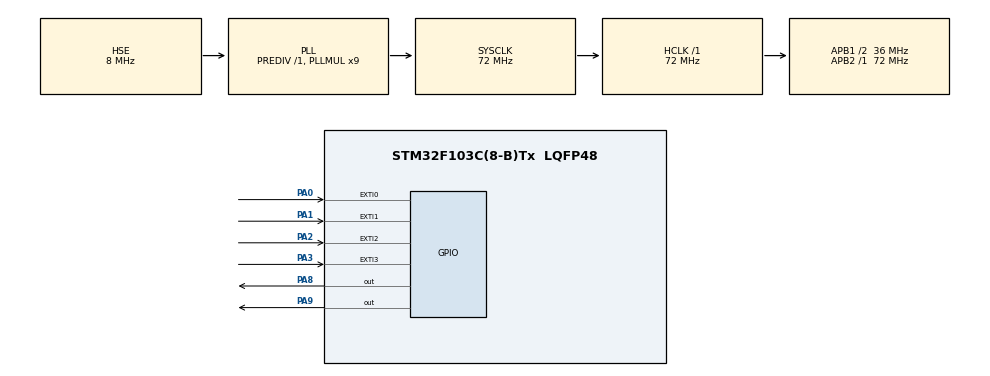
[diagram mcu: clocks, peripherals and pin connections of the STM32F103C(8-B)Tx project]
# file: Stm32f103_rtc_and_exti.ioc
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Mcu.Family=STM32F1
Mcu.Name=STM32F103C(8-B)Tx
Mcu.Package=LQFP48
NVIC.EXTI0_IRQn=true\:0\:0\:false\:false\:true\:true\:true\:true
NVIC.EXTI1_IRQn=true\:0\:0\:false\:false\:true\:true\:true\:true
NVIC.EXTI2_IRQn=true\:0\:0\:false\:false\:true\:true\:true\:true
NVIC.EXTI3_IRQn=true\:0\:0\:false\:false\:true\:true\:true\:true
NVIC.PriorityGroup=NVIC_PRIORITYGROUP_4
PA0-WKUP.GPIO_PuPd=GPIO_PULLDOWN
PA0-WKUP.Signal=GPXTI0
PA1.GPIO_PuPd=GPIO_PULLDOWN
PA1.Signal=GPXTI1
PA13.Mode=Serial_Wire
PA13.Signal=SYS_JTMS-SWDIO
PA14.Mode=Serial_Wire
PA14.Signal=SYS_JTCK-SWCLK
PA2.GPIO_PuPd=GPIO_PULLDOWN
PA2.Signal=GPXTI2
PA3.GPIO_PuPd=GPIO_PULLDOWN
PA3.Signal=GPXTI3
PA8.Signal=GPIO_Output
PA9.Signal=GPIO_Output
PC14-OSC32_IN.Mode=LSE-External-Oscillator
PC14-OSC32_IN.Signal=RCC_OSC32_IN
PC15-OSC32_OUT.Mode=LSE-External-Oscillator
PC15-OSC32_OUT.Signal=RCC_OSC32_OUT
PD0-OSC_IN.Mode=HSE-External-Oscillator
PD0-OSC_IN.Signal=RCC_OSC_IN
PD1-OSC_OUT.Mode=HSE-External-Oscillator
PD1-OSC_OUT.Signal=RCC_OSC_OUT
ProjectManager.HeapSize=0x200
ProjectManager.StackSize=0x400
ProjectManager.TargetToolchain=STM32CubeIDE
RCC.AHBFreq_Value=72000000
RCC.APB1CLKDivider=RCC_HCLK_DIV2
RCC.APB1Freq_Value=36000000
RCC.APB1TimFreq_Value=72000000
RCC.APB2Freq_Value=72000000
RCC.APB2TimFreq_Value=72000000
RCC.HCLKFreq_Value=72000000
RCC.PLLMUL=RCC_PLL_MUL9
RCC.PLLSourceVirtual=RCC_PLLSOURCE_HSE
RCC.SYSCLKFreq_VALUE=72000000
RCC.SYSCLKSource=RCC_SYSCLKSOURCE_PLLCLK
RCC.USBFreq_Value=72000000
RTC.Date=14
RTC.Format=RTC_FORMAT_BIN
RTC.Hours=13
RTC.Minutes=50
RTC.Month=RTC_MONTH_FEBRUARY
RTC.WeekDay=RTC_WEEKDAY_TUESDAY
RTC.Year=23
VP_RTC_VS_RTC_Activate.Mode=RTC_Enabled
VP_RTC_VS_RTC_Calendar.Mode=RTC_Calendar
board=custom

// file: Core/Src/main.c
/* USER CODE BEGIN Header */
/**
 ******************************************************************************
 * @file           : main.c
 * @brief          : Main program body
 ******************************************************************************
 * @attention
 *
 * Copyright (c) 2023 STMicroelectronics.
 * All rights reserved.
 *
 * This software is licensed under terms that can be found in the LICENSE file
 * in the root directory of this software component.
 * If no LICENSE file comes with this software, it is provided AS-IS.
 *
 ******************************************************************************
 */
/* USER CODE END Header */
#include "main.h"

/* USER CODE BEGIN Includes */
#include <stdio.h>
#include <stdbool.h>
#include <string.h>
#include <stdlib.h>
/* USER CODE END Includes */

/* USER CODE BEGIN PTD */
char time[9];
char firstTime[9];
char date[9];

bool button0=0;
bool button1=0;
bool button2=0;
bool button3=0;
bool timeOK=0;

uint32_t firstTimeInSeconds;
uint32_t currentTimeInSeconds;

/* USER CODE END PTD */

RTC_HandleTypeDef hrtc;

void SystemClock_Config(void);
static void MX_GPIO_Init(void);
static void MX_RTC_Init(void);
/* USER CODE BEGIN PFP */
RTC_TimeTypeDef sTime;
RTC_DateTypeDef DateToUpdate;
/* USER CODE END PFP */

/* USER CODE BEGIN 0 */
void HAL_GPIO_EXTI_Callback(uint16_t GPIO_Pin)
{
	switch(GPIO_Pin){
	case GPIO_PIN_0:
		button0=1;
		button1=0;
		button2=0;
		break;
	case  GPIO_PIN_1:
		button0=0;
		button1=1;
		button2=0;
		break;
	case GPIO_PIN_2:
		HAL_RTC_GetTime(&hrtc, &sTime, RTC_FORMAT_BIN);
		sprintf(firstTime,"%02d.%02d.%02d",sTime.Hours,sTime.Minutes,sTime.Seconds);
		firstTimeInSeconds = sTime.Seconds + sTime.Minutes * 60 + sTime.Hours * 60 * 60;
		button0=0;
		button1=0;
		button2=1;
		break;
	}

}
/* USER CODE END 0 */

int main(void)
{

	/* MCU Configuration--------------------------------------------------------*/

	/* Reset of all peripherals, Initializes the Flash interface and the Systick. */
	HAL_Init();

	/* Configure the system clock */
	SystemClock_Config();

	/* Initialize all configured peripherals */
	MX_GPIO_Init();
	MX_RTC_Init();

	/* Infinite loop */
	while (1)
	{

		/* USER CODE BEGIN 3 */
		HAL_RTC_GetTime(&hrtc, &sTime, RTC_FORMAT_BIN);
		HAL_RTC_GetDate(&hrtc, &DateToUpdate, RTC_FORMAT_BIN);
		sprintf(date,"%02d.%02d.%02d",DateToUpdate.Date,DateToUpdate.Month,DateToUpdate.Year);
		sprintf(time,"%02d.%02d.%02d",sTime.Hours,sTime.Minutes,sTime.Seconds);

		currentTimeInSeconds = sTime.Seconds + sTime.Minutes * 60 + sTime.Hours * 60 * 60;
		HAL_GPIO_WritePin(GPIOA, GPIO_PIN_8, GPIO_PIN_SET);

		if ((currentTimeInSeconds - firstTimeInSeconds) >= 30) {
			HAL_GPIO_WritePin(GPIOA, GPIO_PIN_8, GPIO_PIN_SET);
			HAL_GPIO_WritePin(GPIOA, GPIO_PIN_9, GPIO_PIN_RESET);
			timeOK=1;
		}
		else {
			HAL_GPIO_WritePin(GPIOA, GPIO_PIN_8, GPIO_PIN_RESET);
			HAL_GPIO_WritePin(GPIOA, GPIO_PIN_9, GPIO_PIN_SET);
			timeOK=0;
		}

	}
	/* USER CODE END 3 */
}

void SystemClock_Config(void)
{
	RCC_OscInitTypeDef RCC_OscInitStruct = {0};
	RCC_ClkInitTypeDef RCC_ClkInitStruct = {0};
	RCC_PeriphCLKInitTypeDef PeriphClkInit = {0};

	/** Initializes the RCC Oscillators according to the specified parameters
	 * in the RCC_OscInitTypeDef structure.
	 */
	RCC_OscInitStruct.OscillatorType = RCC_OSCILLATORTYPE_LSI|RCC_OSCILLATORTYPE_HSE;
	RCC_OscInitStruct.HSEState = RCC_HSE_ON;
	RCC_OscInitStruct.HSEPredivValue = RCC_HSE_PREDIV_DIV1;
	RCC_OscInitStruct.HSIState = RCC_HSI_ON;
	RCC_OscInitStruct.LSIState = RCC_LSI_ON;
	RCC_OscInitStruct.PLL.PLLState = RCC_PLL_ON;
	RCC_OscInitStruct.PLL.PLLSource = RCC_PLLSOURCE_HSE;
	RCC_OscInitStruct.PLL.PLLMUL = RCC_PLL_MUL9;
	if (HAL_RCC_OscConfig(&RCC_OscInitStruct) != HAL_OK)
	{
		Error_Handler();
	}

	/** Initializes the CPU, AHB and APB buses clocks
	 */
	RCC_ClkInitStruct.ClockType = RCC_CLOCKTYPE_HCLK|RCC_CLOCKTYPE_SYSCLK
			|RCC_CLOCKTYPE_PCLK1|RCC_CLOCKTYPE_PCLK2;
	RCC_ClkInitStruct.SYSCLKSource = RCC_SYSCLKSOURCE_PLLCLK;
	RCC_ClkInitStruct.AHBCLKDivider = RCC_SYSCLK_DIV1;
	RCC_ClkInitStruct.APB1CLKDivider = RCC_HCLK_DIV2;
	RCC_ClkInitStruct.APB2CLKDivider = RCC_HCLK_DIV1;

	if (HAL_RCC_ClockConfig(&RCC_ClkInitStruct, FLASH_LATENCY_2) != HAL_OK)
	{
		Error_Handler();
	}
	PeriphClkInit.PeriphClockSelection = RCC_PERIPHCLK_RTC;
	PeriphClkInit.RTCClockSelection = RCC_RTCCLKSOURCE_LSI;
	if (HAL_RCCEx_PeriphCLKConfig(&PeriphClkInit) != HAL_OK)
	{
		Error_Handler();
	}
}

static void MX_RTC_Init(void)
{

	RTC_TimeTypeDef sTime = {0};
	RTC_DateTypeDef DateToUpdate = {0};

	/** Initialize RTC Only
	 */
	hrtc.Instance = RTC;
	hrtc.Init.AsynchPrediv = RTC_AUTO_1_SECOND;
	hrtc.Init.OutPut = RTC_OUTPUTSOURCE_ALARM;
	if (HAL_RTC_Init(&hrtc) != HAL_OK)
	{
		Error_Handler();
	}

	/** Initialize RTC and set the Time and Date
	 */
	sTime.Hours = 13;
	sTime.Minutes = 50;
	sTime.Seconds = 0;

	if (HAL_RTC_SetTime(&hrtc, &sTime, RTC_FORMAT_BIN) != HAL_OK)
	{
		Error_Handler();
	}
	DateToUpdate.WeekDay = RTC_WEEKDAY_TUESDAY;
	DateToUpdate.Month = RTC_MONTH_FEBRUARY;
	DateToUpdate.Date = 14;
	DateToUpdate.Year = 23;

	if (HAL_RTC_SetDate(&hrtc, &DateToUpdate, RTC_FORMAT_BIN) != HAL_OK)
	{
		Error_Handler();
	}

}

static void MX_GPIO_Init(void)
{
	GPIO_InitTypeDef GPIO_InitStruct = {0};

	/* GPIO Ports Clock Enable */
	__HAL_RCC_GPIOC_CLK_ENABLE();
	__HAL_RCC_GPIOD_CLK_ENABLE();
	__HAL_RCC_GPIOA_CLK_ENABLE();

	/*Configure GPIO pin Output Level */
	HAL_GPIO_WritePin(GPIOA, GPIO_PIN_8|GPIO_PIN_9, GPIO_PIN_RESET);

	/*Configure GPIO pins : PA0 PA1 PA2 PA3 */
	GPIO_InitStruct.Pin = GPIO_PIN_0|GPIO_PIN_1|GPIO_PIN_2|GPIO_PIN_3;
	GPIO_InitStruct.Mode = GPIO_MODE_IT_RISING;
	GPIO_InitStruct.Pull = GPIO_PULLDOWN;
	HAL_GPIO_Init(GPIOA, &GPIO_InitStruct);

	/*Configure GPIO pins : PA8 PA9 */
	GPIO_InitStruct.Pin = GPIO_PIN_8|GPIO_PIN_9;
	GPIO_InitStruct.Mode = GPIO_MODE_OUTPUT_PP;
	GPIO_InitStruct.Pull = GPIO_NOPULL;
	GPIO_InitStruct.Speed = GPIO_SPEED_FREQ_LOW;
	HAL_GPIO_Init(GPIOA, &GPIO_InitStruct);

	/* EXTI interrupt init*/
	HAL_NVIC_SetPriority(EXTI0_IRQn, 0, 0);
	HAL_NVIC_EnableIRQ(EXTI0_IRQn);

	HAL_NVIC_SetPriority(EXTI1_IRQn, 0, 0);
	HAL_NVIC_EnableIRQ(EXTI1_IRQn);

	HAL_NVIC_SetPriority(EXTI2_IRQn, 0, 0);
	HAL_NVIC_EnableIRQ(EXTI2_IRQn);

	HAL_NVIC_SetPriority(EXTI3_IRQn, 0, 0);
	HAL_NVIC_EnableIRQ(EXTI3_IRQn);

}

void Error_Handler(void)
{
	__disable_irq();
	while (1)
	{
	}
}
